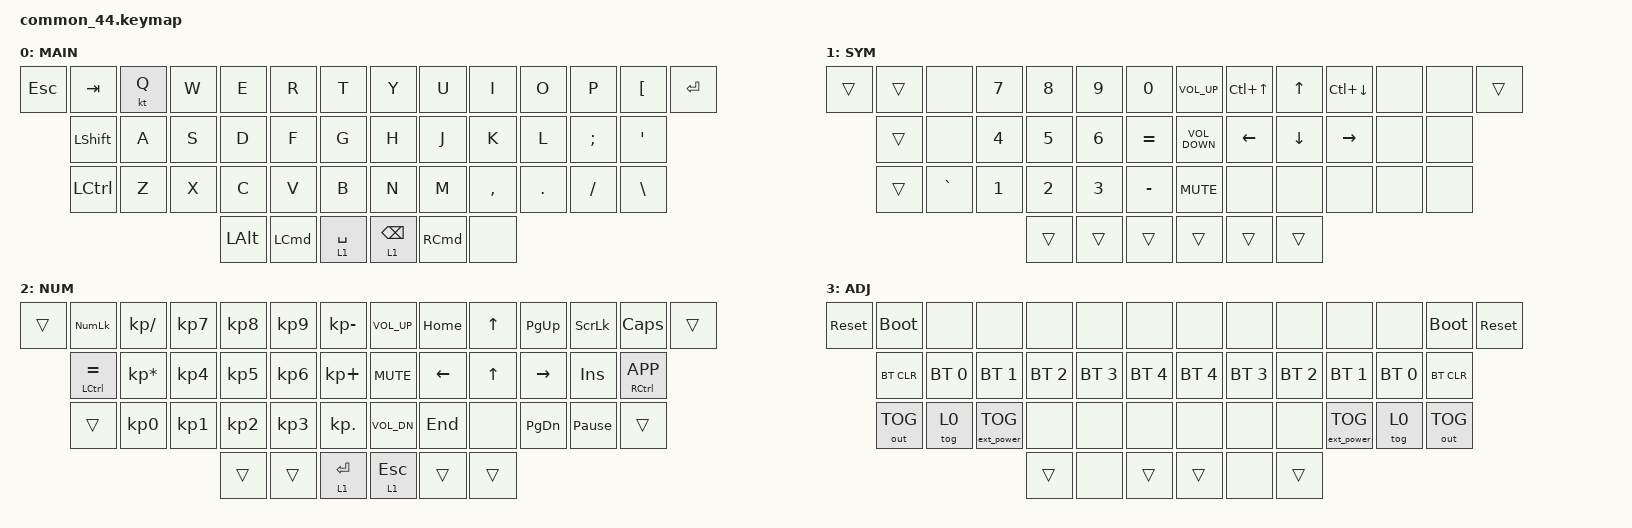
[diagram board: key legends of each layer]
/*
 * Copyright (c) 2020 The ZMK Contributors
 *
 * SPDX-License-Identifier: MIT
 */

#include <behaviors.dtsi>
#include <dt-bindings/zmk/bt.h>
#include <dt-bindings/zmk/ext_power.h>
#include <dt-bindings/zmk/keys.h>
#include <dt-bindings/zmk/keys.h>
#include <dt-bindings/zmk/outputs.h>

#define DEF 0
#define LWR 1
#define lower_layer LWR
#define RSE 2
#define raise_layer RSE
#define ADJ 3
#define adjust_layer ADJ
#define GME 4
#define GLR 5

&lt { quick-tap-ms = <200>; };

&mt { quick-tap-ms = <200>; };

/ {
    combos {
        compatible = "zmk,combos";

        Left_Parenthesis {
            bindings = <&kp RIGHT_PARENTHESIS>;
            key-positions = <8 9>;
        };

        Rift_Parenthesis {
            bindings = <&kp LEFT_PARENTHESIS>;
            key-positions = <4 5>;
        };

        Left_Brace {
            bindings = <&kp LEFT_BRACE>;
            key-positions = <17 18>;
        };

        Right_Brace {
            bindings = <&kp RIGHT_BRACE>;
            key-positions = <21 22>;
        };

        Change_Language {
            bindings = <&kp LC(LA(SPACE))>;
            key-positions = <16 17 18>;
        };
    };

    macros {
        lang: lang {
            compatible = "zmk,behavior-macro";
            #binding-cells = <0>;
            bindings =
                <&macro_press>,
                <&kp LCTRL>,
                <&macro_tap>,
                <&kp SPACE>,
                <&macro_release>,
                <&kp LCTRL>;

            label = "LANG";
        };
    };

    behaviors {
        LT2Lang: LT2Lang {
            compatible = "zmk,behavior-hold-tap";
            label = "LT2LANG";
            bindings = <&lt>, <&lang>;

            #binding-cells = <2>;
            tapping-term-ms = <150>;
            flavor = "balanced";
            hold-trigger-key-positions = <38>;
        };

        lt2esclang: lt2esclang {
            compatible = "zmk,behavior-tap-dance";
            label = "LT2ESCLANG";
            #binding-cells = <0>;
            bindings = <&lt 2 ESCAPE>, <&lang>;
        };
    };

    keymap {
        compatible = "zmk,keymap";

        default_layer {
            label = "MAIN";

            // -----------------------------------------------------------------------------------------
            // |  GUI |   ~  |  Q  |  W  |  E  |  R  |  T  |   |  Y  |  U   |  I  |  O  |  P  |  [   | GUI/] |
            //        | CTRL |  A  |  S  |  D  |  F  |  G  |   |  H  |  J   |  K  |  L  |  ;  |CTRL/'|
            //        | LALT |  Z  |  X  |  C  |  V  |  B  |   |  N  |  M   |  ,  |  .  |  /  | RALT |
            //                           | RSE | SPC | LWR |   | LWR | BKSP | RSE |

            bindings = <
&kp ESC  &kp TAB           &kt Q  &kp W  &kp E         &kp R             &kp T          &kp Y            &kp U              &kp I      &kp O    &kp P          &kp LBKT       &kp ENTER
         &kp LEFT_SHIFT    &kp A  &kp S  &kp D         &kp F             &kp G          &kp H            &kp J              &kp K      &kp L    &kp SEMICOLON  &kp SQT
         &kp LEFT_CONTROL  &kp Z  &kp X  &kp C         &kp V             &kp B          &kp N            &kp M              &kp COMMA  &kp DOT  &kp FSLH       &kp BACKSLASH
                                         &kp LEFT_ALT  &kp LEFT_COMMAND  &lt 1 SPACE    &lt 1 BACKSPACE  &kp RIGHT_COMMAND  &none
            >;
        };

        lower_layer {
            label = "SYM";

            // -----------------------------------------------------------------------------------------
            // |     |  _  |  F1 |  F2 |  F3 |  F4 |  F5 |   |  F6 |  F7 |  F8 |  F9 | F10 | F11 | F12 |
            //       |  +  |  !  |  @  |  #  |  $  |  %  |   |  ^  |  &  |  *  |  (  |  )  |  -  |
            //       |  =  |  1  |  2  |  3  |  4  |  5  |   |  6  |  7  |  8  |  9  |  0  |     |
            //                    | GUI |     | SPC |   | ENT |     | ALT |

            bindings = <
&trans  &trans  &none      &kp NUMBER_7  &kp NUMBER_8  &kp NUMBER_9  &kp NUMBER_0    &kp C_VOLUME_UP    &kp LC(UP_ARROW)  &kp UP_ARROW    &kp LC(DOWN_ARROW)  &none  &none  &trans
        &trans  &none      &kp NUMBER_4  &kp NUMBER_5  &kp NUMBER_6  &kp EQUAL       &kp C_VOLUME_DOWN  &kp LEFT_ARROW    &kp DOWN_ARROW  &kp RIGHT_ARROW     &none  &none
        &trans  &kp GRAVE  &kp NUMBER_1  &kp NUMBER_2  &kp NUMBER_3  &kp MINUS       &kp C_MUTE         &none             &none           &none               &none  &none
                                         &trans        &trans        &trans          &trans             &trans            &trans
            >;
        };

        raise_layer {
            label = "NUM";

            // -----------------------------------------------------------------------------------------
            // |     | NMLK |  /  |  7  |  8  |  9  |  -  |   | VOLU| HOME| PRSC| PGUP| SCLK| CLCK|     |
            //       | CTRL |  *  |  4  |  5  |  6  |  +  |   | MUT | LEFT|  UP | RGHT| INS | APP |
            //       |      |  0  |  1  |  2  |  3  |  .  |   | VOLD| END | DOWN| PGDN| PAUS|     |
            //                          |     |     | ADJ |   | ADJ |     |     |

            bindings = <
&trans  &kp KP_NUM       &kp KP_SLASH     &kp KP_N7  &kp KP_N8  &kp KP_N9  &kp KP_MINUS    &kp C_VOL_UP  &kp HOME  &kp UP_ARROW  &kp PG_UP  &kp SLCK         &kp CAPS         &trans
        &mt LCTRL EQUAL  &kp KP_MULTIPLY  &kp KP_N4  &kp KP_N5  &kp KP_N6  &kp KP_PLUS     &kp C_MUTE    &kp LEFT  &kp UP        &kp RIGHT  &kp INS          &mt RCTRL K_APP
        &trans           &kp KP_N0        &kp KP_N1  &kp KP_N2  &kp KP_N3  &kp KP_DOT      &kp C_VOL_DN  &kp END   &none         &kp PG_DN  &kp PAUSE_BREAK  &trans
                                                     &trans     &trans     &lt 1 RET       &lt 1 ESC     &trans    &trans
            >;
        };

        adjust_layer {
            label = "ADJ";

            // -----------------------------------------------------------------------------------------
            // | RST | BLDR |     |     |     |     |     |   |     |     |     |     |     | BLDR | RST |
            //       | BTCLR| BT0 | BT1 | BT2 | BT3 | BT4 |   | BT4 | BT3 | BT2 | BT1 | BT0 | BTCLR|
            //       |      |     |     |     |     |     |   |     |     |     |     |     |      |
            //                          |     |     |     |   |     |     |     |

            bindings = <
&sys_reset  &bootloader   &none         &none              &none         &none         &none           &none         &none         &none         &none              &none         &bootloader   &sys_reset
            &bt BT_CLR    &bt BT_SEL 0  &bt BT_SEL 1       &bt BT_SEL 2  &bt BT_SEL 3  &bt BT_SEL 4    &bt BT_SEL 4  &bt BT_SEL 3  &bt BT_SEL 2  &bt BT_SEL 1       &bt BT_SEL 0  &bt BT_CLR
            &out OUT_TOG  &tog 0        &ext_power EP_TOG  &none         &none         &none           &none         &none         &none         &ext_power EP_TOG  &tog 0        &out OUT_TOG
                                                           &trans        &none         &trans          &trans        &none         &trans
            >;
        };
    };

    conditional_layers {
        compatible = "zmk,conditional-layers";

        adj {
            if-layers = <1 2>;
            then-layer = <3>;
        };
    };
};
